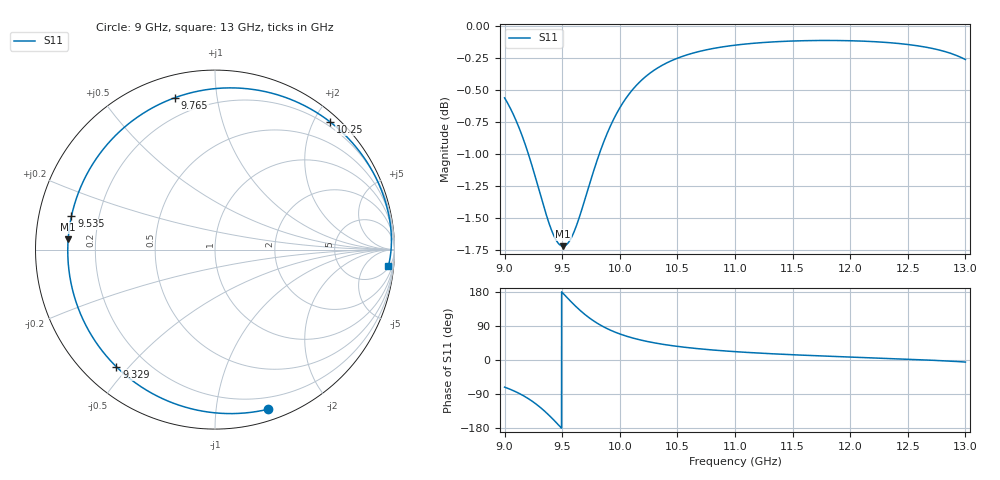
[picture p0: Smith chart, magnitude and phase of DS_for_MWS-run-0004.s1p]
! TOUCHSTONE file generated by CST DESIGN STUDIO
! Date and time: Tue Feb  4 17:36:22 2025
! Project name: C:\Work\MatlabApps\UnitCellOptimizationMatlab\CST\unitcell.cst
! Tree item: Tasks\Sweep1\SPara1\S-Parameters
! Header version: 2024
! Port assignment regex: !\s*Touchstone port\s*([0-9]+)\s*=\s*(CST MWS port|CST DES external port|CST DES block port)\s*(.+)\s* \(\"(.*)\"\)(\s*mode\s*([0-9]+))?.*
! Touchstone port assignment:
! Touchstone port 1 = CST DES external port 1 ("")
# GHz S MA R 50
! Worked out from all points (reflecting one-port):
!   4001 points, 9 GHz to 13 GHz, reference 50 ohm
!   lowest |S11| = -1.7 dB at 9.507 GHz (marker M1), VSWR 10.12, Z = 4.95 + j1.73 ohm
!   phase of S11 starts at -72 deg and turns -294 deg over the sweep
!   S11 on the Smith chart (normalised r, x): 9 GHz: 0.09, -1.38; 9.329 GHz: 0.10, -0.46; 9.535 GHz: 0.10, +0.11; 9.765 GHz: 0.11, +0.77; 10.25 GHz: 0.13, +2.24; 13 GHz: 6, -19
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9  0.9374 -71.6
9.087  0.9211 -82.4
9.19  0.8958 -99.0
9.262  0.8744 -113.7
9.329  0.8534 -130.1
9.374  0.8403 -142.5
9.422  0.8289 -156.9
9.462  0.8227 -169.5
9.5  0.8202 178.3
9.507  0.8201 176.0
9.535  0.8211 167.0
9.589  0.8281 150.1
9.652  0.8427 131.8
9.707  0.8583 117.7
9.765  0.8754 104.7
9.813  0.8888 95.4
9.866  0.9023 86.4
9.932  0.9167 76.9
10  0.929 68.8
10.118  0.9452 57.5
10.253  0.9578 48.0
10.5  0.9715 35.9
10.722  0.9782 28.6
11  0.983 22.1
11.5  0.9866 13.9
12  0.9869 7.8
12.5  0.9836 2.1
13  0.9703 -5.5
